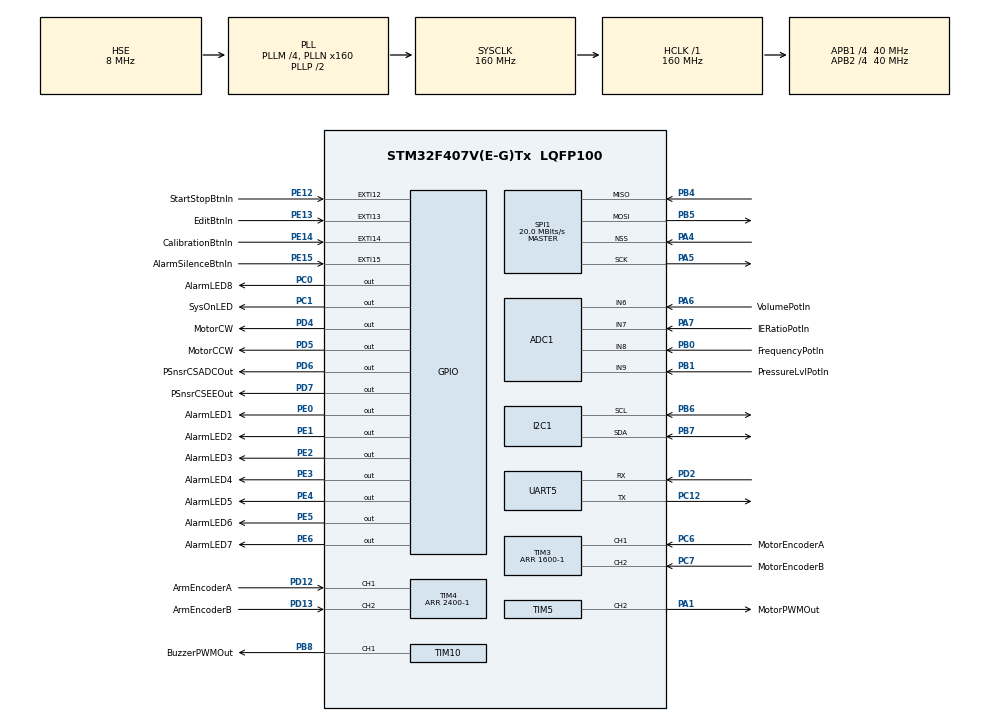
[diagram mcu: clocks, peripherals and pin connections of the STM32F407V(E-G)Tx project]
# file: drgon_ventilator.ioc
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ADC1.Channel-0\#ChannelRegularConversion=ADC_CHANNEL_6
ADC1.Channel-1\#ChannelRegularConversion=ADC_CHANNEL_7
ADC1.Channel-2\#ChannelRegularConversion=ADC_CHANNEL_8
ADC1.Channel-3\#ChannelRegularConversion=ADC_CHANNEL_9
ADC1.NbrOfConversion=4
ADC1.NbrOfConversionFlag=1
ADC1.Rank-0\#ChannelRegularConversion=1
ADC1.Rank-1\#ChannelRegularConversion=2
ADC1.Rank-2\#ChannelRegularConversion=3
ADC1.Rank-3\#ChannelRegularConversion=4
ADC1.SamplingTime-0\#ChannelRegularConversion=ADC_SAMPLETIME_15CYCLES
ADC1.SamplingTime-1\#ChannelRegularConversion=ADC_SAMPLETIME_15CYCLES
ADC1.SamplingTime-2\#ChannelRegularConversion=ADC_SAMPLETIME_15CYCLES
ADC1.SamplingTime-3\#ChannelRegularConversion=ADC_SAMPLETIME_15CYCLES
ADC1.ScanConvMode=ENABLE
ADC1.master=1
Dma.ADC1.0.Direction=DMA_PERIPH_TO_MEMORY
Dma.ADC1.0.FIFOMode=DMA_FIFOMODE_DISABLE
Dma.ADC1.0.Instance=DMA2_Stream0
Dma.ADC1.0.MemDataAlignment=DMA_MDATAALIGN_HALFWORD
Dma.ADC1.0.MemInc=DMA_MINC_ENABLE
Dma.ADC1.0.Mode=DMA_CIRCULAR
Dma.ADC1.0.PeriphDataAlignment=DMA_PDATAALIGN_HALFWORD
Dma.ADC1.0.PeriphInc=DMA_PINC_DISABLE
Dma.ADC1.0.Priority=DMA_PRIORITY_LOW
Dma.Request0=ADC1
FREERTOS.INCLUDE_vTaskDelayUntil=1
FREERTOS.Tasks01=initTask,3,128,initTaskFn,Default,NULL,Dynamic,NULL,NULL;mainRoutine,2,128,mainRoutineFn,Default,NULL,Dynamic,NULL,NULL;displayUI,2,128,displayUIFn,Default,NULL,Dynamic,NULL,NULL;motorEncoder,3,128,motorEncoderFn,Default,NULL,Dynamic,NULL,NULL;armEncoder,3,128,armEncoderFn,Default,NULL,Dynamic,NULL,NULL;diagnosticsSrv,2,128,diagnosticsSrvFn,Default,NULL,Dynamic,NULL,NULL;userInput,2,128,userInputFn,Default,NULL,Dynamic,NULL,NULL;alarmMonitor,3,128,alarmMonitorFn,Default,NULL,Dynamic,NULL,NULL;pressureSnsr,2,128,pressureSnsrFn,Default,NULL,Dynamic,NULL,NULL
Mcu.Family=STM32F4
Mcu.Name=STM32F407V(E-G)Tx
Mcu.Package=LQFP100
NVIC.DMA2_Stream0_IRQn=true\:5\:0\:false\:false\:true\:true\:false\:true
NVIC.PriorityGroup=NVIC_PRIORITYGROUP_4
NVIC.TIM1_UP_TIM10_IRQn=true\:0\:0\:false\:false\:true\:false\:false\:true
NVIC.TimeBase=TIM1_UP_TIM10_IRQn
NVIC.TimeBaseIP=TIM1
PA1.GPIO_Label=MotorPWMOut
PA1.Signal=S_TIM5_CH2
PA13.Mode=Serial_Wire
PA13.Signal=SYS_JTMS-SWDIO
PA14.Mode=Serial_Wire
PA14.Signal=SYS_JTCK-SWCLK
PA4.Mode=NSS_Signal_Hard_Input
PA4.Signal=SPI1_NSS
PA5.Mode=Full_Duplex_Master
PA5.Signal=SPI1_SCK
PA6.GPIO_Label=VolumePotIn
PA6.Signal=ADCx_IN6
PA7.GPIO_Label=IERatioPotIn
PA7.Signal=ADCx_IN7
PB0.GPIO_Label=FrequencyPotIn
PB0.Signal=ADCx_IN8
PB1.GPIO_Label=PressureLvlPotIn
PB1.Signal=ADCx_IN9
PB4.Mode=Full_Duplex_Master
PB4.Signal=SPI1_MISO
PB5.Mode=Full_Duplex_Master
PB5.Signal=SPI1_MOSI
PB6.Mode=I2C
PB6.Signal=I2C1_SCL
PB7.Mode=I2C
PB7.Signal=I2C1_SDA
PB8.GPIO_Label=BuzzerPWMOut
PB8.Signal=S_TIM10_CH1
PC0.GPIO_Label=AlarmLED8
PC0.Signal=GPIO_Output
PC1.GPIO_Label=SysOnLED
PC1.Signal=GPIO_Output
PC12.Mode=Asynchronous
PC12.Signal=UART5_TX
PC6.GPIO_Label=MotorEncoderA
PC6.Signal=S_TIM3_CH1
PC7.GPIO_Label=MotorEncoderB
PC7.Signal=S_TIM3_CH2
PD12.GPIO_Label=ArmEncoderA
PD12.Signal=S_TIM4_CH1
PD13.GPIO_Label=ArmEncoderB
PD13.Signal=S_TIM4_CH2
PD2.Mode=Asynchronous
PD2.Signal=UART5_RX
PD4.GPIO_Label=MotorCW
PD4.Signal=GPIO_Output
PD5.GPIO_Label=MotorCCW
PD5.Signal=GPIO_Output
PD6.GPIO_Label=PSnsrCSADCOut
PD6.Signal=GPIO_Output
PD7.GPIO_Label=PSnsrCSEEOut
PD7.Signal=GPIO_Output
PE0.GPIO_Label=AlarmLED1
PE0.Signal=GPIO_Output
PE1.GPIO_Label=AlarmLED2
PE1.Signal=GPIO_Output
PE12.GPIO_Label=StartStopBtnIn
PE12.Signal=GPXTI12
PE13.GPIO_Label=EditBtnIn
PE13.Signal=GPXTI13
PE14.GPIO_Label=CalibrationBtnIn
PE14.Signal=GPXTI14
PE15.GPIO_Label=AlarmSilenceBtnIn
PE15.Signal=GPXTI15
PE2.GPIO_Label=AlarmLED3
PE2.Signal=GPIO_Output
PE3.GPIO_Label=AlarmLED4
PE3.Signal=GPIO_Output
PE4.GPIO_Label=AlarmLED5
PE4.Signal=GPIO_Output
PE5.GPIO_Label=AlarmLED6
PE5.Signal=GPIO_Output
PE6.GPIO_Label=AlarmLED7
PE6.Signal=GPIO_Output
PH0-OSC_IN.Mode=HSE-External-Oscillator
PH0-OSC_IN.Signal=RCC_OSC_IN
PH1-OSC_OUT.Mode=HSE-External-Oscillator
PH1-OSC_OUT.Signal=RCC_OSC_OUT
ProjectManager.HeapSize=0x200
ProjectManager.StackSize=0x400
ProjectManager.TargetToolchain=STM32CubeIDE
RCC.48MHZClocksFreq_Value=80000000
RCC.AHBFreq_Value=160000000
RCC.APB1CLKDivider=RCC_HCLK_DIV4
RCC.APB1Freq_Value=40000000
RCC.APB1TimFreq_Value=80000000
RCC.APB2CLKDivider=RCC_HCLK_DIV4
RCC.APB2Freq_Value=40000000
RCC.APB2TimFreq_Value=80000000
RCC.CortexFreq_Value=160000000
RCC.HCLKFreq_Value=160000000
RCC.HSE_VALUE=8000000
RCC.HSI_VALUE=16000000
RCC.LSE_VALUE=32768
RCC.PLLM=4
RCC.PLLN=160
RCC.PLLSourceVirtual=RCC_PLLSOURCE_HSE
RCC.SYSCLKFreq_VALUE=160000000
RCC.SYSCLKSource=RCC_SYSCLKSOURCE_PLLCLK
RCC.VCOOutputFreq_Value=320000000
SH.ADCx_IN6.0=ADC1_IN6,IN6
SH.ADCx_IN7.0=ADC1_IN7,IN7
SH.ADCx_IN8.0=ADC1_IN8,IN8
SH.ADCx_IN9.0=ADC1_IN9,IN9
SH.S_TIM10_CH1.0=TIM10_CH1,PWM Generation1 CH1
SH.S_TIM3_CH1.0=TIM3_CH1,Encoder_Interface
SH.S_TIM3_CH2.0=TIM3_CH2,Encoder_Interface
SH.S_TIM4_CH1.0=TIM4_CH1,Encoder_Interface
SH.S_TIM4_CH2.0=TIM4_CH2,Encoder_Interface
SH.S_TIM5_CH2.0=TIM5_CH2,PWM Generation2 CH2
SPI1.CalculateBaudRate=20.0 MBits/s
SPI1.Direction=SPI_DIRECTION_2LINES
SPI1.Mode=SPI_MODE_MASTER
SPI1.VirtualNSS=VM_NSSHARD
SPI1.VirtualType=VM_MASTER
TIM10.Channel=TIM_CHANNEL_1
TIM3.EncoderMode=TIM_ENCODERMODE_TI12
TIM3.IC1Filter=2
TIM3.IC2Filter=2
TIM3.Period=1600-1
TIM4.EncoderMode=TIM_ENCODERMODE_TI12
TIM4.IC1Filter=2
TIM4.IC2Filter=2
TIM4.Period=2400-1
TIM5.Channel-PWM\ Generation2\ CH2=TIM_CHANNEL_2
TIM5.Period=8000-1
UART5.StopBits=UART_STOPBITS_2
UART5.VirtualMode=Asynchronous
VP_FREERTOS_VS_CMSIS_V1.Mode=CMSIS_V1
VP_SYS_VS_tim1.Mode=TIM1
VP_TIM10_VS_ClockSourceINT.Mode=Enable_Timer
board=custom

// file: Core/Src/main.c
/* USER CODE BEGIN Header */
/**
  ******************************************************************************
  * @file           : main.c
  * @brief          : Main program body
  ******************************************************************************
  * @attention
  *
  * <h2><center>&copy; Copyright (c) 2020 STMicroelectronics.
  * All rights reserved.</center></h2>
  *
  * This software component is licensed by ST under BSD 3-Clause license,
  * the "License"; You may not use this file except in compliance with the
  * License. You may obtain a copy of the License at:
  *                        opensource.org/licenses/BSD-3-Clause
  *
  ******************************************************************************
  */
/* USER CODE END Header */

#include "main.h"
#include "cmsis_os.h"

/* USER CODE BEGIN Includes */
#include "stdio.h"
#include "dc_motor_api.h"
#include "lcd_display_api.h"
#include "encoder_api.h"
#include "potentiometer_api.h"
#include "buzzer_api.h"
#include "ventilator_api.h"
/* USER CODE END Includes */

/* USER CODE BEGIN PD */
#define MOTOR_ENCODER_CYCLE_TIME_MS			10
#define ARM_ENCODER_CYCLE_TIME_MS			10
#define LCD_DISPLAY_CYCLE_TIME_MS			100
#define DIAGNOSTICS_SRV_CYCLE_TIME_MS		100
#define CALIBRATION_IDLE_CYCLE_TIME_MS		100
#define CALIBRATION_UNWIND_TIME_MS			3000
#define ALARM_MONITOR_CYCLE_TIME_MS			10
#define ALARM_SILENCE_TIMEOUT_MS			2000
#define MAIN_ROUTINE_CYCLE_TIME_MS			10
#define BUTTON_INPUT_DEBOUNCE_PERIOD_MS		500

/* USER CODE END PD */

ADC_HandleTypeDef hadc1;
DMA_HandleTypeDef hdma_adc1;

I2C_HandleTypeDef hi2c1;

SPI_HandleTypeDef hspi1;

TIM_HandleTypeDef htim3;
TIM_HandleTypeDef htim4;
TIM_HandleTypeDef htim5;
TIM_HandleTypeDef htim10;

UART_HandleTypeDef huart5;

osThreadId initTaskHandle;
osThreadId mainRoutineHandle;
osThreadId displayUIHandle;
osThreadId motorEncoderHandle;
osThreadId armEncoderHandle;
osThreadId diagnosticsSrvHandle;
osThreadId userInputHandle;
osThreadId alarmMonitorHandle;
osThreadId pressureSnsrHandle;
/* USER CODE BEGIN PV */

DCMotor_S 			dc_motor;
LCDDisplay_S 		lcd_display;
Encoder_S			motor_encoder;
Encoder_S			arm_encoder;
Buzzer_S			buzzer;
Potentiometer_S		pot_controls_a[TOTAL_CONTROLS_COUNT];
Ventilator_S		ventilator;

/* USER CODE END PV */

void SystemClock_Config(void);
static void MX_GPIO_Init(void);
static void MX_DMA_Init(void);
static void MX_ADC1_Init(void);
static void MX_I2C1_Init(void);
static void MX_SPI1_Init(void);
static void MX_TIM3_Init(void);
static void MX_TIM4_Init(void);
static void MX_TIM5_Init(void);
static void MX_TIM10_Init(void);
static void MX_UART5_Init(void);
void initTaskFn(void const * argument);
void mainRoutineFn(void const * argument);
void displayUIFn(void const * argument);
void motorEncoderFn(void const * argument);
void armEncoderFn(void const * argument);
void diagnosticsSrvFn(void const * argument);
void userInputFn(void const * argument);
void alarmMonitorFn(void const * argument);
void pressureSnsrFn(void const * argument);

/* USER CODE BEGIN 0 */
void HAL_GPIO_EXTI_Callback(uint16_t GPIO_Pin)
{
	if (GPIO_Pin == EditBtnIn_Pin)
	{
		uint32_t	WakeTime = osKernelSysTick();

		if ((WakeTime - ventilator.prev_systick) > BUTTON_INPUT_DEBOUNCE_PERIOD_MS)
		{
			switch(ventilator.main_state_machine)
			{
				case MAIN_STATE_STANDBY:
				case MAIN_STATE_RESPIRATION:
					osThreadResume(userInputHandle);
					break;

				case MAIN_STATE_SETUP:
					switch(ventilator.setup_state_machine)
					{
						case SETUP_STATE_STANDBY:
							ventilator.setup_state_machine = SETUP_STATE_MANUAL_SPIN;
							ventilator.manual_spin_state_machine = MANUAL_SPIN_STATE_STOP;
							break;

						case SETUP_STATE_MANUAL_SPIN:
							switch(ventilator.manual_spin_state_machine)
							{
								case MANUAL_SPIN_STATE_UNWIND:
									ventilator.manual_spin_state_machine = MANUAL_SPIN_STATE_WIND;
									break;

								case MANUAL_SPIN_STATE_WIND:
									ventilator.manual_spin_state_machine = MANUAL_SPIN_STATE_STOP;
									break;

								case MANUAL_SPIN_STATE_STOP:
									ventilator.manual_spin_state_machine = MANUAL_SPIN_STATE_UNWIND;
									break;
							}
							break;
						case SETUP_STATE_CALIBRATION:
							break;
					}
					break;
			}
			ventilator.prev_systick = WakeTime;
		}
	}

	if (GPIO_Pin == CalibrationBtnIn_Pin)
	{
		uint32_t	WakeTime = osKernelSysTick();

		if ((WakeTime - ventilator.prev_systick) > BUTTON_INPUT_DEBOUNCE_PERIOD_MS)
		{
			switch(ventilator.main_state_machine)
			{
				case MAIN_STATE_STANDBY:
					ventilator.main_state_machine = MAIN_STATE_SETUP;
					break;
				case MAIN_STATE_SETUP:
					switch(ventilator.setup_state_machine)
					{
						case SETUP_STATE_STANDBY:
							ventilator.setup_state_machine = SETUP_STATE_CALIBRATION;
							ventilator.calibration_state_machine = CALIBRATION_STATE_UNWIND;
							break;
						case SETUP_STATE_CALIBRATION:
							if (ventilator.calibration_state_machine == CALIBRATION_STATE_WAIT_AMBU)
							{
								ventilator.calibration_state_machine = CALIBRATION_STATE_WIND;
							}
							break;
						case SETUP_STATE_MANUAL_SPIN:
							break;
					}
					break;
				case MAIN_STATE_RESPIRATION:
					break;
			}
			ventilator.prev_systick = WakeTime;
		}
	}

	if (GPIO_Pin == AlarmSilenceBtnIn_Pin)
	{
		uint32_t	WakeTime = osKernelSysTick();
		if ((WakeTime - ventilator.prev_systick) > BUTTON_INPUT_DEBOUNCE_PERIOD_MS)
		{
			switch(ventilator.ventilator_alarms_config)
			{
				case REPORT_ALARMS:
					ventilator.ventilator_alarms_config = SILENCE_ALARMS;
					break;
				case SILENCE_ALARMS:
					ventilator.ventilator_alarms_config = REPORT_ALARMS;
					break;
			}
			ventilator.prev_systick = WakeTime;
		}
	}

	if (GPIO_Pin == StartStopBtnIn_Pin)
	{
		uint32_t	WakeTime = osKernelSysTick();
		if ((WakeTime - ventilator.prev_systick) > BUTTON_INPUT_DEBOUNCE_PERIOD_MS)
		{

			switch(ventilator.main_state_machine)
			{
				case MAIN_STATE_SETUP:
				case MAIN_STATE_RESPIRATION:
					ventilator.main_state_machine = MAIN_STATE_STANDBY;
					ventilator.forced_volume_state_machine = FORCED_VOLUME_STATE_STANDBY;
					ventilator.assisted_volume_state_machine = ASSISTED_VOLUME_STATE_STANDBY;
					ventilator.setup_state_machine = SETUP_STATE_STANDBY;
					ventilator.calibration_state_machine = CALIBRATION_STATE_STOP;
					ventilator.manual_spin_state_machine = MANUAL_SPIN_STATE_STOP;
					break;
				case MAIN_STATE_STANDBY:
					ventilator.main_state_machine = MAIN_STATE_RESPIRATION;
					break;
			}
			ventilator.prev_systick = WakeTime;
		}
	}
}
/* USER CODE END 0 */

int main(void)
{

  /* MCU Configuration--------------------------------------------------------*/

  /* Reset of all peripherals, Initializes the Flash interface and the Systick. */
  HAL_Init();

  /* Configure the system clock */
  SystemClock_Config();

  /* Initialize all configured peripherals */
  MX_GPIO_Init();
  MX_DMA_Init();
  MX_ADC1_Init();
  MX_I2C1_Init();
  MX_SPI1_Init();
  MX_TIM3_Init();
  MX_TIM4_Init();
  MX_TIM5_Init();
  MX_TIM10_Init();
  MX_UART5_Init();
  /* USER CODE BEGIN 2 */
  DCMotorInit(&dc_motor, &htim5);
  EncoderInit(&motor_encoder, TIM3, MOTOR_MODEL);
  EncoderInit(&arm_encoder, TIM4, ARM_MODEL);
  LCDInit(&lcd_display, &hi2c1);
  PotControlsInit(pot_controls_a);
  BuzzerInit(&buzzer, &htim10);
  /* USER CODE END 2 */

  /* Create the thread(s) */
  /* definition and creation of initTask */
  osThreadDef(initTask, initTaskFn, osPriorityRealtime, 0, 128);
  initTaskHandle = osThreadCreate(osThread(initTask), NULL);

  /* definition and creation of mainRoutine */
  osThreadDef(mainRoutine, mainRoutineFn, osPriorityHigh, 0, 128);
  mainRoutineHandle = osThreadCreate(osThread(mainRoutine), NULL);

  /* definition and creation of displayUI */
  osThreadDef(displayUI, displayUIFn, osPriorityHigh, 0, 128);
  displayUIHandle = osThreadCreate(osThread(displayUI), NULL);

  /* definition and creation of motorEncoder */
  osThreadDef(motorEncoder, motorEncoderFn, osPriorityRealtime, 0, 128);
  motorEncoderHandle = osThreadCreate(osThread(motorEncoder), NULL);

  /* definition and creation of armEncoder */
  osThreadDef(armEncoder, armEncoderFn, osPriorityRealtime, 0, 128);
  armEncoderHandle = osThreadCreate(osThread(armEncoder), NULL);

  /* definition and creation of diagnosticsSrv */
  osThreadDef(diagnosticsSrv, diagnosticsSrvFn, osPriorityHigh, 0, 128);
  diagnosticsSrvHandle = osThreadCreate(osThread(diagnosticsSrv), NULL);

  /* definition and creation of userInput */
  osThreadDef(userInput, userInputFn, osPriorityHigh, 0, 128);
  userInputHandle = osThreadCreate(osThread(userInput), NULL);

  /* definition and creation of alarmMonitor */
  osThreadDef(alarmMonitor, alarmMonitorFn, osPriorityRealtime, 0, 128);
  alarmMonitorHandle = osThreadCreate(osThread(alarmMonitor), NULL);

  /* definition and creation of pressureSnsr */
  osThreadDef(pressureSnsr, pressureSnsrFn, osPriorityHigh, 0, 128);
  pressureSnsrHandle = osThreadCreate(osThread(pressureSnsr), NULL);

  /* Start scheduler */
  osKernelStart();

  /* We should never get here as control is now taken by the scheduler */
  /* Infinite loop */
  while (1)
  {

  }
}

void SystemClock_Config(void)
{
  RCC_OscInitTypeDef RCC_OscInitStruct = {0};
  RCC_ClkInitTypeDef RCC_ClkInitStruct = {0};

  /** Configure the main internal regulator output voltage
  */
  __HAL_RCC_PWR_CLK_ENABLE();
  __HAL_PWR_VOLTAGESCALING_CONFIG(PWR_REGULATOR_VOLTAGE_SCALE1);
  /** Initializes the CPU, AHB and APB busses clocks
  */
  RCC_OscInitStruct.OscillatorType = RCC_OSCILLATORTYPE_HSE;
  RCC_OscInitStruct.HSEState = RCC_HSE_ON;
  RCC_OscInitStruct.PLL.PLLState = RCC_PLL_ON;
  RCC_OscInitStruct.PLL.PLLSource = RCC_PLLSOURCE_HSE;
  RCC_OscInitStruct.PLL.PLLM = 4;
  RCC_OscInitStruct.PLL.PLLN = 160;
  RCC_OscInitStruct.PLL.PLLP = RCC_PLLP_DIV2;
  RCC_OscInitStruct.PLL.PLLQ = 4;
  if (HAL_RCC_OscConfig(&RCC_OscInitStruct) != HAL_OK)
  {
    Error_Handler();
  }
  /** Initializes the CPU, AHB and APB busses clocks
  */
  RCC_ClkInitStruct.ClockType = RCC_CLOCKTYPE_HCLK|RCC_CLOCKTYPE_SYSCLK
                              |RCC_CLOCKTYPE_PCLK1|RCC_CLOCKTYPE_PCLK2;
  RCC_ClkInitStruct.SYSCLKSource = RCC_SYSCLKSOURCE_PLLCLK;
  RCC_ClkInitStruct.AHBCLKDivider = RCC_SYSCLK_DIV1;
  RCC_ClkInitStruct.APB1CLKDivider = RCC_HCLK_DIV4;
  RCC_ClkInitStruct.APB2CLKDivider = RCC_HCLK_DIV4;

  if (HAL_RCC_ClockConfig(&RCC_ClkInitStruct, FLASH_LATENCY_5) != HAL_OK)
  {
    Error_Handler();
  }
}

static void MX_ADC1_Init(void)
{

  ADC_ChannelConfTypeDef sConfig = {0};

  /** Configure the global features of the ADC (Clock, Resolution, Data Alignment and number of conversion)
  */
  hadc1.Instance = ADC1;
  hadc1.Init.ClockPrescaler = ADC_CLOCK_SYNC_PCLK_DIV2;
  hadc1.Init.Resolution = ADC_RESOLUTION_12B;
  hadc1.Init.ScanConvMode = ENABLE;
  hadc1.Init.ContinuousConvMode = DISABLE;
  hadc1.Init.DiscontinuousConvMode = DISABLE;
  hadc1.Init.ExternalTrigConvEdge = ADC_EXTERNALTRIGCONVEDGE_NONE;
  hadc1.Init.ExternalTrigConv = ADC_SOFTWARE_START;
  hadc1.Init.DataAlign = ADC_DATAALIGN_RIGHT;
  hadc1.Init.NbrOfConversion = 4;
  hadc1.Init.DMAContinuousRequests = DISABLE;
  hadc1.Init.EOCSelection = ADC_EOC_SINGLE_CONV;
  if (HAL_ADC_Init(&hadc1) != HAL_OK)
  {
    Error_Handler();
  }
  /** Configure for the selected ADC regular channel its corresponding rank in the sequencer and its sample time.
  */
  sConfig.Channel = ADC_CHANNEL_6;
  sConfig.Rank = 1;
  sConfig.SamplingTime = ADC_SAMPLETIME_15CYCLES;
  if (HAL_ADC_ConfigChannel(&hadc1, &sConfig) != HAL_OK)
  {
    Error_Handler();
  }
  /** Configure for the selected ADC regular channel its corresponding rank in the sequencer and its sample time.
  */
  sConfig.Channel = ADC_CHANNEL_7;
  sConfig.Rank = 2;
  if (HAL_ADC_ConfigChannel(&hadc1, &sConfig) != HAL_OK)
  {
    Error_Handler();
  }
  /** Configure for the selected ADC regular channel its corresponding rank in the sequencer and its sample time.
  */
  sConfig.Channel = ADC_CHANNEL_8;
  sConfig.Rank = 3;
  if (HAL_ADC_ConfigChannel(&hadc1, &sConfig) != HAL_OK)
  {
    Error_Handler();
  }
  /** Configure for the selected ADC regular channel its corresponding rank in the sequencer and its sample time.
  */
  sConfig.Channel = ADC_CHANNEL_9;
  sConfig.Rank = 4;
  if (HAL_ADC_ConfigChannel(&hadc1, &sConfig) != HAL_OK)
  {
    Error_Handler();
  }

}

static void MX_I2C1_Init(void)
{

  hi2c1.Instance = I2C1;
  hi2c1.Init.ClockSpeed = 100000;
  hi2c1.Init.DutyCycle = I2C_DUTYCYCLE_2;
  hi2c1.Init.OwnAddress1 = 0;
  hi2c1.Init.AddressingMode = I2C_ADDRESSINGMODE_7BIT;
  hi2c1.Init.DualAddressMode = I2C_DUALADDRESS_DISABLE;
  hi2c1.Init.OwnAddress2 = 0;
  hi2c1.Init.GeneralCallMode = I2C_GENERALCALL_DISABLE;
  hi2c1.Init.NoStretchMode = I2C_NOSTRETCH_DISABLE;
  if (HAL_I2C_Init(&hi2c1) != HAL_OK)
  {
    Error_Handler();
  }

}

static void MX_SPI1_Init(void)
{

  /* SPI1 parameter configuration*/
  hspi1.Instance = SPI1;
  hspi1.Init.Mode = SPI_MODE_MASTER;
  hspi1.Init.Direction = SPI_DIRECTION_2LINES;
  hspi1.Init.DataSize = SPI_DATASIZE_8BIT;
  hspi1.Init.CLKPolarity = SPI_POLARITY_LOW;
  hspi1.Init.CLKPhase = SPI_PHASE_1EDGE;
  hspi1.Init.NSS = SPI_NSS_HARD_INPUT;
  hspi1.Init.BaudRatePrescaler = SPI_BAUDRATEPRESCALER_2;
  hspi1.Init.FirstBit = SPI_FIRSTBIT_MSB;
  hspi1.Init.TIMode = SPI_TIMODE_DISABLE;
  hspi1.Init.CRCCalculation = SPI_CRCCALCULATION_DISABLE;
  hspi1.Init.CRCPolynomial = 10;
  if (HAL_SPI_Init(&hspi1) != HAL_OK)
  {
    Error_Handler();
  }

}

static void MX_TIM3_Init(void)
{

  TIM_Encoder_InitTypeDef sConfig = {0};
  TIM_MasterConfigTypeDef sMasterConfig = {0};

  htim3.Instance = TIM3;
  htim3.Init.Prescaler = 0;
  htim3.Init.CounterMode = TIM_COUNTERMODE_UP;
  htim3.Init.Period = 1600-1;
  htim3.Init.ClockDivision = TIM_CLOCKDIVISION_DIV1;
  htim3.Init.AutoReloadPreload = TIM_AUTORELOAD_PRELOAD_DISABLE;
  sConfig.EncoderMode = TIM_ENCODERMODE_TI12;
  sConfig.IC1Polarity = TIM_ICPOLARITY_RISING;
  sConfig.IC1Selection = TIM_ICSELECTION_DIRECTTI;
  sConfig.IC1Prescaler = TIM_ICPSC_DIV1;
  sConfig.IC1Filter = 2;
  sConfig.IC2Polarity = TIM_ICPOLARITY_RISING;
  sConfig.IC2Selection = TIM_ICSELECTION_DIRECTTI;
  sConfig.IC2Prescaler = TIM_ICPSC_DIV1;
  sConfig.IC2Filter = 2;
  if (HAL_TIM_Encoder_Init(&htim3, &sConfig) != HAL_OK)
  {
    Error_Handler();
  }
  sMasterConfig.MasterOutputTrigger = TIM_TRGO_RESET;
  sMasterConfig.MasterSlaveMode = TIM_MASTERSLAVEMODE_DISABLE;
  if (HAL_TIMEx_MasterConfigSynchronization(&htim3, &sMasterConfig) != HAL_OK)
  {
    Error_Handler();
  }
  /* USER CODE BEGIN TIM3_Init 2 */
  HAL_TIM_Encoder_Start_IT(&htim3, htim3.Channel);
  /* USER CODE END TIM3_Init 2 */

}

static void MX_TIM4_Init(void)
{

  TIM_Encoder_InitTypeDef sConfig = {0};
  TIM_MasterConfigTypeDef sMasterConfig = {0};

  htim4.Instance = TIM4;
  htim4.Init.Prescaler = 0;
  htim4.Init.CounterMode = TIM_COUNTERMODE_UP;
  htim4.Init.Period = 2400-1;
  htim4.Init.ClockDivision = TIM_CLOCKDIVISION_DIV1;
  htim4.Init.AutoReloadPreload = TIM_AUTORELOAD_PRELOAD_DISABLE;
  sConfig.EncoderMode = TIM_ENCODERMODE_TI12;
  sConfig.IC1Polarity = TIM_ICPOLARITY_RISING;
  sConfig.IC1Selection = TIM_ICSELECTION_DIRECTTI;
  sConfig.IC1Prescaler = TIM_ICPSC_DIV1;
  sConfig.IC1Filter = 2;
  sConfig.IC2Polarity = TIM_ICPOLARITY_RISING;
  sConfig.IC2Selection = TIM_ICSELECTION_DIRECTTI;
  sConfig.IC2Prescaler = TIM_ICPSC_DIV1;
  sConfig.IC2Filter = 2;
  if (HAL_TIM_Encoder_Init(&htim4, &sConfig) != HAL_OK)
  {
    Error_Handler();
  }
  sMasterConfig.MasterOutputTrigger = TIM_TRGO_RESET;
  sMasterConfig.MasterSlaveMode = TIM_MASTERSLAVEMODE_DISABLE;
  if (HAL_TIMEx_MasterConfigSynchronization(&htim4, &sMasterConfig) != HAL_OK)
  {
    Error_Handler();
  }
  /* USER CODE BEGIN TIM4_Init 2 */
  HAL_TIM_Encoder_Start_IT(&htim4, htim4.Channel);
  /* USER CODE END TIM4_Init 2 */

}

static void MX_TIM5_Init(void)
{

  TIM_MasterConfigTypeDef sMasterConfig = {0};
  TIM_OC_InitTypeDef sConfigOC = {0};

  htim5.Instance = TIM5;
  htim5.Init.Prescaler = 0;
  htim5.Init.CounterMode = TIM_COUNTERMODE_UP;
  htim5.Init.Period = 8000-1;
  htim5.Init.ClockDivision = TIM_CLOCKDIVISION_DIV1;
  htim5.Init.AutoReloadPreload = TIM_AUTORELOAD_PRELOAD_DISABLE;
  if (HAL_TIM_PWM_Init(&htim5) != HAL_OK)
  {
    Error_Handler();
  }
  sMasterConfig.MasterOutputTrigger = TIM_TRGO_RESET;
  sMasterConfig.MasterSlaveMode = TIM_MASTERSLAVEMODE_DISABLE;
  if (HAL_TIMEx_MasterConfigSynchronization(&htim5, &sMasterConfig) != HAL_OK)
  {
    Error_Handler();
  }
  sConfigOC.OCMode = TIM_OCMODE_PWM1;
  sConfigOC.Pulse = 0;
  sConfigOC.OCPolarity = TIM_OCPOLARITY_HIGH;
  sConfigOC.OCFastMode = TIM_OCFAST_DISABLE;
  if (HAL_TIM_PWM_ConfigChannel(&htim5, &sConfigOC, TIM_CHANNEL_2) != HAL_OK)
  {
    Error_Handler();
  }
  HAL_TIM_MspPostInit(&htim5);

}

static void MX_TIM10_Init(void)
{

  TIM_OC_InitTypeDef sConfigOC = {0};

  htim10.Instance = TIM10;
  htim10.Init.Prescaler = 0;
  htim10.Init.CounterMode = TIM_COUNTERMODE_UP;
  htim10.Init.Period = 0;
  htim10.Init.ClockDivision = TIM_CLOCKDIVISION_DIV1;
  htim10.Init.AutoReloadPreload = TIM_AUTORELOAD_PRELOAD_DISABLE;
  if (HAL_TIM_Base_Init(&htim10) != HAL_OK)
  {
    Error_Handler();
  }
  if (HAL_TIM_PWM_Init(&htim10) != HAL_OK)
  {
    Error_Handler();
  }
  sConfigOC.OCMode = TIM_OCMODE_PWM1;
  sConfigOC.Pulse = 0;
  sConfigOC.OCPolarity = TIM_OCPOLARITY_HIGH;
  sConfigOC.OCFastMode = TIM_OCFAST_DISABLE;
  if (HAL_TIM_PWM_ConfigChannel(&htim10, &sConfigOC, TIM_CHANNEL_1) != HAL_OK)
  {
    Error_Handler();
  }
  HAL_TIM_MspPostInit(&htim10);

}

static void MX_UART5_Init(void)
{

  huart5.Instance = UART5;
  huart5.Init.BaudRate = 115200;
  huart5.Init.WordLength = UART_WORDLENGTH_8B;
  huart5.Init.StopBits = UART_STOPBITS_2;
  huart5.Init.Parity = UART_PARITY_NONE;
  huart5.Init.Mode = UART_MODE_TX_RX;
  huart5.Init.HwFlowCtl = UART_HWCONTROL_NONE;
  huart5.Init.OverSampling = UART_OVERSAMPLING_16;
  if (HAL_UART_Init(&huart5) != HAL_OK)
  {
    Error_Handler();
  }

}

static void MX_DMA_Init(void)
{

  /* DMA controller clock enable */
  __HAL_RCC_DMA2_CLK_ENABLE();

  /* DMA interrupt init */
  /* DMA2_Stream0_IRQn interrupt configuration */
  HAL_NVIC_SetPriority(DMA2_Stream0_IRQn, 5, 0);
  HAL_NVIC_EnableIRQ(DMA2_Stream0_IRQn);

}

static void MX_GPIO_Init(void)
{
  GPIO_InitTypeDef GPIO_InitStruct = {0};

  /* GPIO Ports Clock Enable */
  __HAL_RCC_GPIOE_CLK_ENABLE();
  __HAL_RCC_GPIOH_CLK_ENABLE();
  __HAL_RCC_GPIOC_CLK_ENABLE();
  __HAL_RCC_GPIOA_CLK_ENABLE();
  __HAL_RCC_GPIOB_CLK_ENABLE();
  __HAL_RCC_GPIOD_CLK_ENABLE();

  /*Configure GPIO pin Output Level */
  HAL_GPIO_WritePin(GPIOE, AlarmLED3_Pin|AlarmLED4_Pin|AlarmLED5_Pin|AlarmLED6_Pin
                          |AlarmLED7_Pin|AlarmLED1_Pin|AlarmLED2_Pin, GPIO_PIN_RESET);

  /*Configure GPIO pin Output Level */
  HAL_GPIO_WritePin(GPIOC, AlarmLED8_Pin|SysOnLED_Pin, GPIO_PIN_RESET);

  /*Configure GPIO pin Output Level */
  HAL_GPIO_WritePin(GPIOD, MotorCW_Pin|MotorCCW_Pin|PSnsrCSADCOut_Pin|PSnsrCSEEOut_Pin, GPIO_PIN_RESET);

  /*Configure GPIO pins : AlarmLED3_Pin AlarmLED4_Pin AlarmLED5_Pin AlarmLED6_Pin
                           AlarmLED7_Pin AlarmLED1_Pin AlarmLED2_Pin */
  GPIO_InitStruct.Pin = AlarmLED3_Pin|AlarmLED4_Pin|AlarmLED5_Pin|AlarmLED6_Pin
                          |AlarmLED7_Pin|AlarmLED1_Pin|AlarmLED2_Pin;
  GPIO_InitStruct.Mode = GPIO_MODE_OUTPUT_PP;
  GPIO_InitStruct.Pull = GPIO_NOPULL;
  GPIO_InitStruct.Speed = GPIO_SPEED_FREQ_LOW;
  HAL_GPIO_Init(GPIOE, &GPIO_InitStruct);

  /*Configure GPIO pins : AlarmLED8_Pin SysOnLED_Pin */
  GPIO_InitStruct.Pin = AlarmLED8_Pin|SysOnLED_Pin;
  GPIO_InitStruct.Mode = GPIO_MODE_OUTPUT_PP;
  GPIO_InitStruct.Pull = GPIO_NOPULL;
  GPIO_InitStruct.Speed = GPIO_SPEED_FREQ_LOW;
  HAL_GPIO_Init(GPIOC, &GPIO_InitStruct);

  /*Configure GPIO pins : StartStopBtnIn_Pin EditBtnIn_Pin CalibrationBtnIn_Pin AlarmSilenceBtnIn_Pin */
  GPIO_InitStruct.Pin = StartStopBtnIn_Pin|EditBtnIn_Pin|CalibrationBtnIn_Pin|AlarmSilenceBtnIn_Pin;
  GPIO_InitStruct.Mode = GPIO_MODE_IT_RISING;
  GPIO_InitStruct.Pull = GPIO_NOPULL;
  HAL_GPIO_Init(GPIOE, &GPIO_InitStruct);

  /*Configure GPIO pins : MotorCW_Pin MotorCCW_Pin PSnsrCSADCOut_Pin PSnsrCSEEOut_Pin */
  GPIO_InitStruct.Pin = MotorCW_Pin|MotorCCW_Pin|PSnsrCSADCOut_Pin|PSnsrCSEEOut_Pin;
  GPIO_InitStruct.Mode = GPIO_MODE_OUTPUT_PP;
  GPIO_InitStruct.Pull = GPIO_NOPULL;
  GPIO_InitStruct.Speed = GPIO_SPEED_FREQ_LOW;
  HAL_GPIO_Init(GPIOD, &GPIO_InitStruct);

}

void initTaskFn(void const * argument)
{
  /* USER CODE BEGIN 5 */
	VentilatorInit(&ventilator);

	HAL_NVIC_SetPriority(EXTI15_10_IRQn, 5, 0);
	HAL_NVIC_EnableIRQ(EXTI15_10_IRQn);

	osThreadResume(userInputHandle);
	osThreadTerminate(initTaskHandle);
  /* USER CODE END 5 */
}

void mainRoutineFn(void const * argument)
{
  /* USER CODE BEGIN mainRoutineFn */
	uint32_t PreviousWakeTime = osKernelSysTick();

  /* Infinite loop */
	for(;;)
	{
		switch(ventilator.main_state_machine)
		{
			case MAIN_STATE_SETUP:
				switch(ventilator.setup_state_machine)
				{
					case SETUP_STATE_CALIBRATION:
						switch(ventilator.calibration_state_machine)
						{
							case CALIBRATION_STATE_UNWIND:
								if (ventilator.cycle_counter == 0)
								{
									DCMotorVoltageSet(&dc_motor, &ventilator.debug_motor_voltage_neg);
									ventilator.cycle_counter++;
								}
								else if (ventilator.cycle_counter < (CALIBRATION_UNWIND_TIME_MS / MAIN_ROUTINE_CYCLE_TIME_MS))
								{
									ventilator.cycle_counter++;
								}
								else
								{
									DCMotorStop(&dc_motor);
									ventilator.cycle_counter = 0;
									ventilator.calibration_state_machine = CALIBRATION_STATE_WAIT_AMBU;
								}
								break;
							case CALIBRATION_STATE_WAIT_AMBU:
								DCMotorStop(&dc_motor);
								break;
							case CALIBRATION_STATE_WIND:
								if (ventilator.cycle_counter == 0)
								{
									ventilator.arm_encoder_init_count = arm_encoder.timer->CNT;
									DCMotorVoltageSet(&dc_motor, &ventilator.debug_motor_voltage_pos);
									ventilator.cycle_counter++;
								}
								else if (arm_encoder.timer->CNT != ventilator.arm_encoder_init_count)
								{
									DCMotorStop(&dc_motor);
									motor_encoder.timer->CNT = 0;
									arm_encoder.timer->CNT = 0;
									ventilator.cycle_counter = 0;
									ventilator.calibration_state_machine = CALIBRATION_STATE_STOP;
								}
								else
								{
									ventilator.cycle_counter++;
								}
								break;
							case CALIBRATION_STATE_STOP:
								DCMotorStop(&dc_motor);
								ventilator.setup_state_machine = SETUP_STATE_STANDBY;
								ventilator.main_state_machine = MAIN_STATE_STANDBY;
								break;
						}
					case SETUP_STATE_MANUAL_SPIN:
						switch(ventilator.manual_spin_state_machine)
						{
							case MANUAL_SPIN_STATE_UNWIND:
								DCMotorVoltageSet(&dc_motor, &ventilator.debug_motor_voltage_neg);
								break;
							case MANUAL_SPIN_STATE_WIND:
								DCMotorVoltageSet(&dc_motor, &ventilator.debug_motor_voltage_pos);
								break;
							case MANUAL_SPIN_STATE_STOP:
								DCMotorStop(&dc_motor);
								break;
						}
					case SETUP_STATE_STANDBY:
						DCMotorStop(&dc_motor);
						ventilator.cycle_counter = 0;
						break;
				}
			case MAIN_STATE_RESPIRATION:
				switch(ventilator.respiration_state_machine)
				{
					case RESPIRATION_STATE_FORCED_VOLUME:
						switch(ventilator.forced_volume_state_machine)
						{
							case FORCED_VOLUME_STATE_GENERATE_TRAJECTORY:
								break;
							case FORCED_VOLUME_STATE_INHALE:
								break;
							case FORCED_VOLUME_STATE_INHALE_PAUSE:
								break;
							case FORCED_VOLUME_STATE_EXHALE:
								break;
							case FORCED_VOLUME_STATE_EXHALE_PAUSE:
								break;
							case FORCED_VOLUME_STATE_STANDBY:
								break;
						}
						break;
					case RESPIRATION_STATE_ASSISTED_VOLUME:
						switch(ventilator.assisted_volume_state_machine)
						{
							case ASSISTED_VOLUME_STATE_GENERATE_TRAJECTORY:
								break;
							case ASSISTED_VOLUME_STATE_WAIT_FOR_RESPIRATION:
								break;
							case ASSISTED_VOLUME_STATE_INHALE:
								break;
							case ASSISTED_VOLUME_STATE_INHALE_PAUSE:
								break;
							case ASSISTED_VOLUME_STATE_EXHALE:
								break;
							case ASSISTED_VOLUME_STATE_EXHALE_PAUSE:
								break;
							case ASSISTED_VOLUME_STATE_STANDBY:
								break;
						}
						break;
					case RESPIRATION_STATE_STANDBY:
						/*
						 * switch(respiration mode switch value)
						 * {
						 * 		case ASSISTED:
						 * 			ventilator.respiration_state_machine = RESPIRATION_STATE_ASSISTED_VOLUME;
						 * 			ventilator.assisted_volume_state_machine = ASSISTED_VOLUME_STATE_GENERATE_TRAJECTORY;
						 * 		case FORCED:
						 * 			ventilator.respiration_state_machine = RESPIRATION_STATE_FORCED_VOLUME;
						 * 			ventilator.forced_volume_state_machine = FORCED_VOLUME_STATE_GENERATE_TRAJECTORY;
						 * 	}
						 * 	ventilator.parameters_changed = 0;
						 */
						ventilator.parameters_changed = 0;
						break;
				}
			case MAIN_STATE_STANDBY:
				DCMotorStop(&dc_motor);
				ventilator.cycle_counter = 0;
				break;
		}
		osDelayUntil(&PreviousWakeTime, MAIN_ROUTINE_CYCLE_TIME_MS);
	}
  /* USER CODE END mainRoutineFn */
}

void displayUIFn(void const * argument)
{
  /* USER CODE BEGIN displayUIFn */
	char buffer[32];
	uint32_t PreviousWakeTime = osKernelSysTick();
	osThreadResume(userInputHandle);

  /* Infinite loop */
	for(;;)
	{
		LCDSetCursorPos(&lcd_display, 0, 0);
		sprintf(buffer, "I:E %03u  T %06lu", ventilator.i_e_ratio, HAL_GetTick());
		LCDSendString(&lcd_display, buffer);

		LCDSetCursorPos(&lcd_display, 1, 0);
		sprintf(buffer, "VOL %03u T4 %03lu", ventilator.tidal_volume, TIM4->CNT);
		LCDSendString(&lcd_display, buffer);

		LCDSetCursorPos(&lcd_display, 2, 0);
		sprintf(buffer, "PRS %03u T3 %03lu", ventilator.pressure_level_alarm_value, TIM3->CNT);
		LCDSendString(&lcd_display, buffer);

		LCDSetCursorPos(&lcd_display, 3, 0);
		sprintf(buffer, "RFQ %03u", ventilator.respiration_frequency);
		LCDSendString(&lcd_display, buffer);

		osDelayUntil(&PreviousWakeTime, LCD_DISPLAY_CYCLE_TIME_MS);
	}
  /* USER CODE END displayUIFn */
}

void motorEncoderFn(void const * argument)
{
  /* USER CODE BEGIN motorEncoderFn */
	uint32_t PreviousWakeTime = osKernelSysTick();

  /* Infinite loop */
	for(;;)
	{
		UpdateEncoderParams(&motor_encoder, MOTOR_ENCODER_CYCLE_TIME_MS);
		osDelayUntil(&PreviousWakeTime, MOTOR_ENCODER_CYCLE_TIME_MS);
	}
  /* USER CODE END motorEncoderFn */
}

void armEncoderFn(void const * argument)
{
  /* USER CODE BEGIN armEncoderFn */
	uint32_t PreviousWakeTime = osKernelSysTick();

  /* Infinite loop */
	for(;;)
	{
		UpdateEncoderParams(&motor_encoder, ARM_ENCODER_CYCLE_TIME_MS);
		osDelayUntil(&PreviousWakeTime, ARM_ENCODER_CYCLE_TIME_MS);
	}
  /* USER CODE END armEncoderFn */
}

void diagnosticsSrvFn(void const * argument)
{
  /* USER CODE BEGIN diagnosticsSrvFn */
	osThreadSuspend(diagnosticsSrvHandle);
	//char buffer[21];
	uint32_t PreviousWakeTime = osKernelSysTick();

  /* Infinite loop */
	for(;;)
	{
		if (ventilator.main_state_machine == MAIN_STATE_RESPIRATION)
		{
			//sprintf(buffer, "%04lu,%04lu,%04lu,%04u", HAL_GetTick(), TIM3->CNT, TIM4->CNT, dc_motor.pwm_value);
			//HAL_UART_Transmit(&huart5, (uint8_t *) buffer, sizeof(buffer), 100);
		}
		osDelayUntil(&PreviousWakeTime, DIAGNOSTICS_SRV_CYCLE_TIME_MS);
	}
  /* USER CODE END diagnosticsSrvFn */
}

void userInputFn(void const * argument)
{
  /* USER CODE BEGIN userInputFn */
  /* Infinite loop */
	for(;;)
	{
	  uint16_t adc_values[TOTAL_CONTROLS_COUNT] = {0,0,0,0};
	  HAL_ADC_Start_DMA(&hadc1, (uint32_t *)adc_values, TOTAL_CONTROLS_COUNT);
	  PotControlsValueUpdate(pot_controls_a, adc_values);
	  UpdateVentilatorParams(&ventilator, pot_controls_a);
	  ventilator.parameters_changed = 1;
	  osThreadSuspend(userInputHandle);
	}
  /* USER CODE END userInputFn */
}

void alarmMonitorFn(void const * argument)
{
  /* USER CODE BEGIN alarmMonitorFn */
	uint32_t PreviousWakeTime = osKernelSysTick();
	BuzzerUpdateParams(&buzzer, 400, 0.5, 2);

  /* Infinite loop */
	for(;;)
	{
		switch(ventilator.ventilator_alarms_config)
		{
			case REPORT_ALARMS:
				if (buzzer.cycle_counter < (buzzer.alarm_period_ms / (2 * ALARM_MONITOR_CYCLE_TIME_MS)) )
				{
					BuzzerStart(&buzzer);
					buzzer.cycle_counter++;
				}
				else if (buzzer.cycle_counter < (buzzer.alarm_period_ms / (ALARM_MONITOR_CYCLE_TIME_MS)) )
				{
					BuzzerStop(&buzzer);
					buzzer.cycle_counter++;
				}
				else
				{
					buzzer.cycle_counter = 0;
				}
				break;
			case SILENCE_ALARMS:
				BuzzerStop(&buzzer);
				break;
		}
		osDelayUntil(&PreviousWakeTime, ALARM_MONITOR_CYCLE_TIME_MS);
	}
  /* USER CODE END alarmMonitorFn */
}

void pressureSnsrFn(void const * argument)
{
  /* USER CODE BEGIN pressureSnsrFn */
  /* Infinite loop */
  for(;;)
  {
	  osThreadTerminate(pressureSnsrHandle);
  }
  /* USER CODE END pressureSnsrFn */
}

 /**
  * @brief  Period elapsed callback in non blocking mode
  * @note   This function is called  when TIM1 interrupt took place, inside
  * HAL_TIM_IRQHandler(). It makes a direct call to HAL_IncTick() to increment
  * a global variable "uwTick" used as application time base.
  * @param  htim : TIM handle
  * @retval None
  */
void HAL_TIM_PeriodElapsedCallback(TIM_HandleTypeDef *htim)
{
  if (htim->Instance == TIM1) {
    HAL_IncTick();
  }
}

void Error_Handler(void)
{
}

/************************ (C) COPYRIGHT STMicroelectronics *****END OF FILE****/
